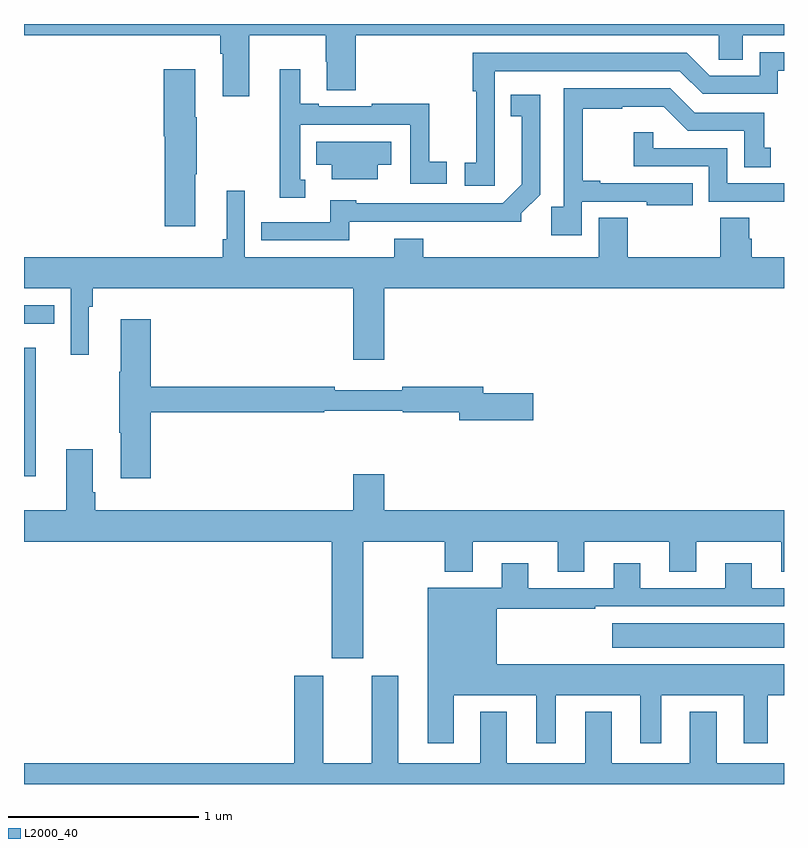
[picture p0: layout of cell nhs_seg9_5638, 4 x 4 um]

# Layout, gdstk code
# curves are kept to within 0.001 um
import gdstk
lib = gdstk.Library(unit=1e-6, precision=1e-09)
def R(c, l, rs):  # rectangles x0, y0, x1, y1
    for r in rs: c.add(gdstk.rectangle(r[:2], r[2:], *l))
def P(c, l, *ps):  # polygons
    for p in ps: c.add(gdstk.Polygon(p, *l))
L2000_40 = (2000, 40)

nhs_seg9_5638 = lib.new_cell('nhs_seg9_5638')
R(nhs_seg9_5638, L2000_40, [(442.095,1173.218,443,1173.346), (439,1174.119,439.063,1174.795), (439,1174.923,439.16,1175.019)])
P(nhs_seg9_5638, L2000_40, [(440.185,1176.44),(440.587,1176.44),(440.587,1176.302),(440.594,1176.302),(440.594,1176.151),(440.747,1176.151),(440.747,1176.44),(442.656,1176.44),(442.656,1176.313),(442.783,1176.313),(442.783,1176.44),(443,1176.44),(443,1176.5),(439,1176.5),(439,1176.44),(440.033,1176.44),(440.033,1176.344),(440.045,1176.344),(440.045,1176.12),(440.185,1176.12)],
  [(441.478,1175.924),(441.477,1176.252),(442.452,1176.252),(442.572,1176.132),(442.968,1176.132),(442.968,1176.255),(443,1176.255),(443,1176.351),(442.872,1176.351),(442.872,1176.228),(442.608,1176.228),(442.488,1176.348),(441.361,1176.348),(441.361,1176.145),(441.379,1176.145),(441.379,1175.769),(441.321,1175.769),(441.321,1175.649),(441.478,1175.649)],
  [(440.479,1175.679),(440.454,1175.679),(440.454,1175.97),(441.033,1175.97),(441.033,1175.658),(441.226,1175.658),(441.226,1175.774),(441.132,1175.774),(441.132,1176.079),(440.83,1176.079),(440.83,1176.066),(440.551,1176.066),(440.551,1176.079),(440.455,1176.079),(440.455,1176.262),(440.345,1176.262),(440.345,1176.017),(440.346,1176.017),(440.346,1175.585),(440.479,1175.585)],
  [(439.9,1175.71),(439.908,1175.71),(439.908,1176.01),(439.9,1176.01),(439.9,1176.262),(439.736,1176.262),(439.736,1175.91),(439.742,1175.91),(439.742,1175.436),(439.9,1175.436)],
  [(441.936,1175.565),(442.277,1175.565),(442.277,1175.546),(442.52,1175.546),(442.52,1175.661),(442.033,1175.661),(442.033,1175.674),(441.941,1175.674),(441.941,1176.054),(442.148,1176.054),(442.148,1176.065),(442.366,1176.065),(442.494,1175.937),(442.79,1175.937),(442.79,1175.746),(442.93,1175.746),(442.93,1175.85),(442.897,1175.85),(442.897,1176.033),(442.53,1176.033),(442.401,1176.162),(441.84,1176.162),(441.84,1175.539),(441.775,1175.539),(441.775,1175.388),(441.936,1175.388)],
  [(440.712,1175.46),(441.618,1175.459),(441.618,1175.503),(441.717,1175.602),(441.717,1176.127),(441.562,1176.127),(441.562,1176.014),(441.62,1176.014),(441.62,1175.657),(441.519,1175.556),(440.748,1175.556),(440.748,1175.572),(440.612,1175.572),(440.612,1175.457),(440.248,1175.457),(440.248,1175.361),(440.712,1175.361)],
  [(443,1175.661),(442.701,1175.661),(442.701,1175.847),(442.311,1175.847),(442.311,1175.929),(442.21,1175.929),(442.21,1175.751),(442.605,1175.751),(442.605,1175.565),(443,1175.565)],
  [(440.863,1175.759),(440.932,1175.759),(440.932,1175.881),(440.539,1175.881),(440.539,1175.759),(440.621,1175.759),(440.621,1175.684),(440.863,1175.684)],
  [(443,1175.272),(442.829,1175.272),(442.829,1175.37),(442.816,1175.37),(442.816,1175.48),(442.664,1175.48),(442.664,1175.272),(442.178,1175.272),(442.178,1175.48),(442.025,1175.48),(442.025,1175.272),(441.101,1175.272),(441.101,1175.371),(440.948,1175.371),(440.948,1175.272),(440.163,1175.272),(440.163,1175.623),(440.066,1175.623),(440.066,1175.368),(440.047,1175.368),(440.047,1175.272),(439,1175.272),(439,1175.108),(439.245,1175.108),(439.245,1174.758),(439.342,1174.758),(439.342,1175.012),(439.361,1175.012),(439.361,1175.108),(440.732,1175.108),(440.732,1174.734),(440.896,1174.734),(440.896,1175.108),(443,1175.108)],
  [(439.667,1174.456),(440.579,1174.456),(440.579,1174.464),(440.994,1174.464),(440.994,1174.456),(441.29,1174.456),(441.29,1174.414),(441.679,1174.414),(441.679,1174.556),(441.418,1174.556),(441.418,1174.592),(440.992,1174.592),(440.992,1174.573),(440.636,1174.573),(440.636,1174.592),(439.667,1174.592),(439.667,1174.945),(439.508,1174.945),(439.508,1174.669),(439.501,1174.669),(439.501,1174.348),(439.508,1174.348),(439.508,1174.11),(439.667,1174.11)],
  [(440.785,1173.776),(441.214,1173.776),(441.214,1173.617),(441.361,1173.617),(441.361,1173.776),(441.809,1173.776),(441.809,1173.616),(441.949,1173.616),(441.949,1173.776),(442.397,1173.776),(442.397,1173.616),(442.537,1173.616),(442.537,1173.776),(442.985,1173.776),(442.985,1173.616),(443,1173.616),(443,1173.94),(440.896,1173.94),(440.896,1174.129),(440.732,1174.129),(440.732,1173.94),(439.376,1173.94),(439.376,1174.036),(439.363,1174.036),(439.363,1174.261),(439.223,1174.261),(439.223,1173.94),(439,1173.94),(439,1173.776),(440.621,1173.776),(440.621,1173.162),(440.785,1173.162)],
  [(441.262,1172.966),(441.695,1172.966),(441.695,1172.715),(441.799,1172.715),(441.799,1172.966),(442.244,1172.966),(442.244,1172.715),(442.354,1172.715),(442.354,1172.966),(442.787,1172.966),(442.787,1172.715),(442.915,1172.715),(442.915,1172.966),(443,1172.966),(443,1173.13),(441.487,1173.13),(441.487,1173.423),(442.007,1173.423),(442.007,1173.435),(443,1173.435),(443,1173.531),(442.831,1173.531),(442.831,1173.661),(442.691,1173.661),(442.691,1173.531),(442.243,1173.531),(442.243,1173.661),(442.103,1173.661),(442.103,1173.531),(441.655,1173.531),(441.655,1173.661),(441.515,1173.661),(441.515,1173.532),(441.125,1173.532),(441.125,1172.715),(441.262,1172.715)],
  [(443,1172.608),(442.645,1172.608),(442.645,1172.881),(442.505,1172.881),(442.505,1172.608),(442.093,1172.608),(442.093,1172.881),(441.953,1172.881),(441.953,1172.608),(441.541,1172.608),(441.541,1172.881),(441.401,1172.881),(441.401,1172.608),(440.971,1172.608),(440.971,1173.07),(440.831,1173.07),(440.831,1172.608),(440.575,1172.608),(440.575,1173.07),(440.423,1173.07),(440.423,1172.608),(439,1172.608),(439,1172.5),(443,1172.5)])

lib.write_gds('nhs_seg9_5638.gds')
